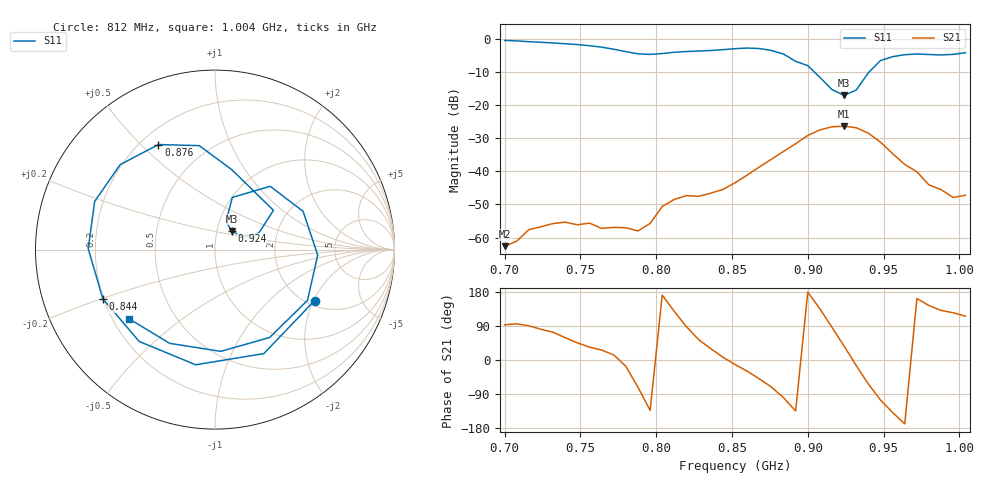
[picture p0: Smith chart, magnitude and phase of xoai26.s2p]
# Hz S RI R 50
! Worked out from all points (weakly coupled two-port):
!   39 points, 700 MHz to 1.004 GHz, reference 50 ohm
!   highest |S21| = -26.41 dB at 924 MHz (marker M1); lowest = -62.6 dB at 700 MHz (marker M2)
!   lowest |S11| = -17.1 dB at 924 MHz (marker M3), VSWR 1.32, Z = 58.9 + j12.4 ohm
!   |S11| at or under -10 dB: 904.2 MHz to 940.6 MHz (36.38 MHz wide, 3.94 % of centre)
!   S12 and S22 are empty: the file has one direction only
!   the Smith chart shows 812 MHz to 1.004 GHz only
!   S11 on the Smith chart (normalised r, x): 812 MHz: 2.20, -2.04; 844 MHz: 0.20, -0.20; 876 MHz: 0.27, +0.56; 924 MHz: 1.18, +0.25; 1.004 GHz: 0.27, -0.33
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7e8  0.7612 0.5513  -3.72e-05 0.00074  0 0  0 0
7.24e8  0.8472 -0.2484  0.000228 0.00144  0 0  0 0
7.4e8  0.4563 -0.7037  0.000883 0.00146  0 0  0 0
7.56e8  -0.1927 -0.7592  0.00137 0.000922  0 0  0 0
7.72e8  -0.665 -0.1931  0.00138 0.000328  0 0  0 0
7.8e8  -0.5938 0.2293  0.00135 -0.0004  0 0  0 0
7.88e8  -0.2448 0.5378  0.000386 -0.00119  0 0  0 0
7.96e8  0.2464 0.5238  -0.00111 -0.00119  0 0  0 0
8.04e8  0.5716 0.1709  -0.00291 0.000452  0 0  0 0
8.12e8  0.5552 -0.2838  -0.00231 0.00297  0 0  0 0
8.28e8  -0.1077 -0.6418  0.00247 0.00338  0 0  0 0
8.44e8  -0.6248 -0.2744  0.00526 0.000682  0 0  0 0
8.52e8  -0.7063 0.00551  0.00654 -0.00137  0 0  0 0
8.76e8  -0.3151 0.5853  0.00487 -0.0143  0 0  0 0
9e8  0.3256 0.2187  -0.0346 0.000546  0 0  0 0
9.08e8  0.2439 0.0919  -0.0298 0.0296  0 0  0 0
9.24e8  0.0938 0.1033  0.0383 0.0286  0 0  0 0
9.4e8  0.0966 0.2907  0.0168 -0.0335  0 0  0 0
9.56e8  0.4908 0.2133  -0.0139 -0.0122  0 0  0 0
9.72e8  0.5153 -0.2827  -0.00935 0.00297  0 0  0 0
9.8e8  0.3043 -0.4897  -0.00499 0.00368  0 0  0 0
1.004e9  -0.4774 -0.3864  -0.00189 0.00391  0 0  0 0
